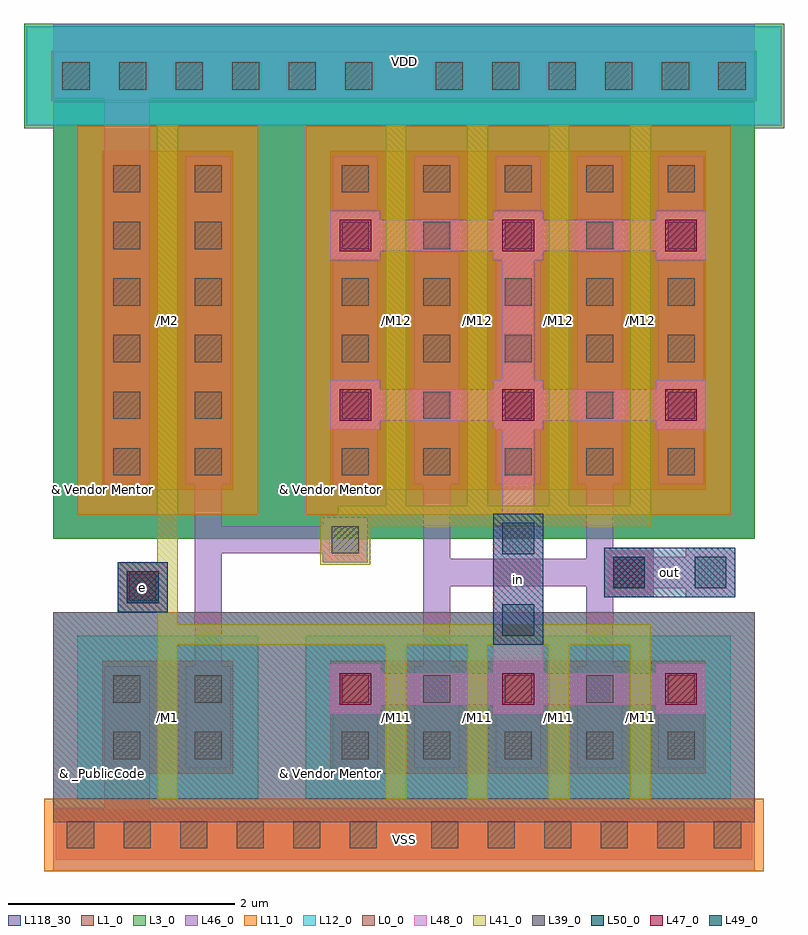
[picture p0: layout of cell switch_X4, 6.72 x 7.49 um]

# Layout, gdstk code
import gdstk
lib = gdstk.Library(unit=1e-6, precision=1e-09)
def R(c, l, rs):  # rectangles x0, y0, x1, y1
    for r in rs: c.add(gdstk.rectangle(r[:2], r[2:], *l))
def A(c, l, x, y, w, h, nx, ny, dx, dy):  # array of equal rectangles
    R(c, l, [(x+i*dx, y+j*dy, x+i*dx+w, y+j*dy+h) for i in range(nx) for j in range(ny)])
def P(c, l, *ps):  # polygons
    for p in ps: c.add(gdstk.Polygon(p, *l))
L0_0 = (0, 0)
L1_0 = (1, 0)
L3_0 = (3, 0)
L11_0 = (11, 0)
L12_0 = (12, 0)
L39_0 = (39, 0)
L41_0 = (41, 0)
L46_0 = (46, 0)
L47_0 = (47, 0)
L48_0 = (48, 0)
L49_0 = (49, 0)
L50_0 = (50, 0)
L118_30 = (118, 30)

m1m2 = lib.new_cell('M1M2')
R(m1m2, L46_0, [(-0.22,-0.22,0.22,0.22)])
R(m1m2, L47_0, [(-0.14,-0.14,0.14,0.14)])
R(m1m2, L48_0, [(-0.22,-0.22,0.22,0.22)])

mpoly = lib.new_cell('MPOLY')
R(mpoly, L39_0, [(-0.12,-0.12,0.12,0.12)])
R(mpoly, L41_0, [(-0.22,-0.22,0.22,0.22)])
R(mpoly, L46_0, [(-0.2,-0.2,0.2,0.2)])

m2m3 = lib.new_cell('M2M3')
R(m2m3, L48_0, [(-0.22,-0.22,0.22,0.22)])
R(m2m3, L49_0, [(-0.14,-0.14,0.14,0.14)])
R(m2m3, L50_0, [(-0.22,-0.22,0.22,0.22)])

switch_x4 = lib.new_cell('switch_X4')
R(switch_x4, L0_0, [(-0.46,-1.87,1.56,-0.01), (1.56,-1.87,5.74,-0.01)])
R(switch_x4, L1_0, [(-0.44,-2.2,5.72,-1.76), (-0.03,-1.44,1.13,-0.44), (-0.03,-1.44,0.46,-0.44), (0.64,-1.44,1.13,-0.44), (1.99,-1.44,2.48,-0.44), (1.99,-1.44,5.31,-0.44), (4.82,-1.44,5.31,-0.44), (-0.03,1.07,0.46,4.07), (-0.03,1.07,1.13,4.07), (0.64,1.07,1.13,4.07), (1.99,1.07,5.31,4.07), (1.99,1.07,2.48,4.07), (4.82,1.07,5.31,4.07), (-0.48,4.51,5.76,4.95)])
R(switch_x4, L3_0, [(-0.46,0.64,1.56,4.5), (1.56,0.64,5.74,4.5), (-0.72,4.27,6,5.19)])
R(switch_x4, L11_0, [(-0.54,-2.3,5.82,-1.66), (-0.25,0.85,1.35,4.29), (1.77,0.85,5.53,4.29)])
R(switch_x4, L12_0, [(-0.25,-1.66,1.35,-0.22), (1.77,-1.66,5.53,-0.22), (-0.7,4.29,5.98,5.17)])
A(switch_x4, L39_0, -0.34, -2.1, 0.24, 0.24, 6, 1, 0.5, 0)
A(switch_x4, L39_0, 2.88, -2.1, 0.24, 0.24, 6, 1, 0.5, 0)
A(switch_x4, L39_0, 2.09, -1.31, 0.24, 0.24, 5, 2, 0.72, 0.5)
A(switch_x4, L39_0, 0.07, 1.2, 0.24, 0.24, 1, 6, 0, 0.5)
A(switch_x4, L39_0, 0.79, 1.2, 0.24, 0.24, 1, 6, 0, 0.5)
A(switch_x4, L39_0, 2.09, 1.2, 0.24, 0.24, 5, 6, 0.72, 0.5)
A(switch_x4, L39_0, -0.38, 4.61, 0.24, 0.24, 6, 1, 0.5, 0)
A(switch_x4, L39_0, 2.92, 4.61, 0.24, 0.24, 6, 1, 0.5, 0)
R(switch_x4, L39_0, [(0.07,-1.31,0.31,-1.07), (0.79,-1.31,1.03,-1.07), (0.07,-0.81,0.31,-0.57), (0.79,-0.81,1.03,-0.57)])
A(switch_x4, L41_0, 2.48, -1.66, 0.18, 0.22, 4, 2, 0.72, 1.22)
A(switch_x4, L41_0, 2.48, -1.44, 0.18, 1, 4, 1, 0.72, 0)
A(switch_x4, L41_0, 2.48, 0.85, 0.18, 0.22, 4, 2, 0.72, 3.22)
A(switch_x4, L41_0, 2.48, 1.07, 0.18, 3, 4, 1, 0.72, 0)
R(switch_x4, L41_0, [(0.46,-1.66,0.64,-1.44), (0.46,-1.44,0.64,-0.44), (0.46,-0.44,0.64,-0.22), (0.46,-0.4,0.64,-0.12), (0.46,-0.3,2.66,-0.12), (0.46,-0.3,0.64,1.03), (0.46,0.85,0.64,1.07), (0.46,1.07,0.64,4.07), (0.46,4.07,0.64,4.29)])
P(switch_x4, L41_0, [(3.92,-0.3),(4.64,-0.3),(4.64,-0.4),(4.82,-0.4),(4.82,-0.12),(3.92,-0.12)],
  [(2.48,0.75),(3.38,0.75),(3.38,1.03),(3.2,1.03),(3.2,0.93),(2.66,0.93),(2.66,1.03),(2.48,1.03)],
  [(3.2,0.75),(4.1,0.75),(4.1,1.03),(3.92,1.03),(3.92,0.93),(3.2,0.93)],
  [(3.92,0.75),(4.82,0.75),(4.82,1.03),(4.64,1.03),(4.64,0.93),(3.92,0.93)],
  [(2.48,-0.4),(2.66,-0.4),(2.66,-0.3),(3.2,-0.3),(3.2,-0.4),(3.38,-0.4),(3.38,-0.12),(2.48,-0.12)],
  [(3.2,-0.3),(3.92,-0.3),(3.92,-0.4),(4.1,-0.4),(4.1,-0.12),(3.2,-0.12)],
  [(2.03,0.54),(2.24,0.54),(2.24,0.75),(2.66,0.75),(2.66,0.93),(2.06,0.93),(2.06,0.72),(2.03,0.72)])
A(switch_x4, L46_0, 2.01, -1.39, 0.4, 0.9, 5, 1, 0.72, 0)
A(switch_x4, L46_0, 2.01, 1.12, 0.4, 2.9, 5, 1, 0.72, 0)
R(switch_x4, L46_0, [(-0.46,-2.3,5.74,-1.74), (-0.46,-2.22,5.74,-1.74), (-0.01,-2.14,0.39,-0.99), (-0.01,-1.39,0.39,-0.49), (0.71,-1.39,1.11,-0.49), (0.79,-0.73,1.03,0.75), (2.81,-0.73,3.05,0.46), (4.25,-0.73,4.49,0.46), (2.81,0.22,3.05,1.36), (2.81,0.22,4.49,0.46), (4.25,0.22,4.75,0.46), (4.25,0.22,4.49,1.36), (0.79,0.51,2.24,0.75), (0.79,0.51,1.03,1.36), (-0.01,1.12,0.39,4.02), (0.71,1.12,1.11,4.02), (-0.01,3.62,0.39,4.93), (-0.46,4.53,5.74,4.93), (-0.46,4.53,5.74,5.19)])
R(switch_x4, L48_0, [(2.07,-0.83,3.79,-0.55), (3.51,-0.83,5.23,-0.55), (3.51,-0.83,3.79,1.96), (3.43,-0.47,3.51,-0.3), (3.79,-0.47,3.87,-0.3), (3.43,0.14,3.87,0.42), (4.49,0.2,5.49,0.48), (2.07,1.68,3.79,1.96), (3.51,1.68,5.23,1.96), (3.51,1.68,3.79,3.46), (2.07,3.18,3.79,3.46), (3.51,3.18,5.23,3.46)])
R(switch_x4, L50_0, [(3.43,-0.3,3.87,0.86), (0.11,-0.01,0.55,0.43), (4.41,0.12,5.57,0.56)])
R(switch_x4, L118_30, [(-0.46,-1.87,1.56,-0.01), (1.56,-1.87,5.74,-0.01), (-0.46,0.64,1.56,4.5), (1.56,0.64,5.74,4.5)])
switch_x4.add(gdstk.Reference(m1m2, (3.65,1.82)))
switch_x4.add(gdstk.Reference(m1m2, (2.21,1.82)))
switch_x4.add(gdstk.Reference(m1m2, (5.09,1.82)))
switch_x4.add(gdstk.Reference(m1m2, (3.65,3.32)))
switch_x4.add(gdstk.Reference(mpoly, (2.12,0.63)))
switch_x4.add(gdstk.Reference(m1m2, (2.21,-0.69)))
switch_x4.add(gdstk.Reference(m1m2, (3.65,-0.69)))
switch_x4.add(gdstk.Reference(m1m2, (5.09,-0.69)))
switch_x4.add(gdstk.Reference(m1m2, (2.21,3.32)))
switch_x4.add(gdstk.Reference(m1m2, (5.09,3.32)))
switch_x4.add(gdstk.Reference(mpoly, (0.33,0.21)))
switch_x4.add(gdstk.Reference(m2m3, (0.33,0.21)))
switch_x4.add(gdstk.Reference(m1m2, (0.33,0.21)))
switch_x4.add(gdstk.Reference(m2m3, (3.65,0.64)))
switch_x4.add(gdstk.Reference(m2m3, (3.65,-0.08)))
switch_x4.add(gdstk.Reference(m1m2, (4.63,0.34)))
switch_x4.add(gdstk.Reference(m2m3, (4.63,0.34)))
switch_x4.add(gdstk.Reference(m2m3, (5.35,0.34)))
switch_x4.add(gdstk.Label('/M12', (2.57,2.57), layer=85, texttype=0))
switch_x4.add(gdstk.Label('/M12', (3.29,2.57), layer=85, texttype=0))
switch_x4.add(gdstk.Label('/M12', (4.01,2.57), layer=85, texttype=0))
switch_x4.add(gdstk.Label('/M12', (4.73,2.57), layer=85, texttype=0))
switch_x4.add(gdstk.Label('& Vendor Mentor', (1.99,1.07), layer=63, texttype=63))
switch_x4.add(gdstk.Label('& Product UMC180FDKMFM', (1.99,1.07), layer=63, texttype=63))
switch_x4.add(gdstk.Label('& Version A01', (1.99,1.07), layer=63, texttype=63))
switch_x4.add(gdstk.Label('& Metric 0', (1.99,1.07), layer=63, texttype=63))
switch_x4.add(gdstk.Label('& _PublicCode', (1.99,1.07), layer=63, texttype=63))
switch_x4.add(gdstk.Label('/M2', (0.55,2.57), layer=85, texttype=0))
switch_x4.add(gdstk.Label('& Vendor Mentor', (-0.03,1.07), layer=63, texttype=63))
switch_x4.add(gdstk.Label('& Product UMC180FDKMFM', (-0.03,1.07), layer=63, texttype=63))
switch_x4.add(gdstk.Label('& Version A01', (-0.03,1.07), layer=63, texttype=63))
switch_x4.add(gdstk.Label('& Metric 0', (-0.03,1.07), layer=63, texttype=63))
switch_x4.add(gdstk.Label('& _PublicCode', (-0.03,1.07), layer=63, texttype=63))
switch_x4.add(gdstk.Label('& _PublicCode', (-0.03,-1.44), layer=63, texttype=63))
switch_x4.add(gdstk.Label('/M1', (0.55,-0.94), layer=85, texttype=0))
switch_x4.add(gdstk.Label('& Vendor Mentor', (-0.03,-1.44), layer=63, texttype=63))
switch_x4.add(gdstk.Label('& Product UMC180FDKMFM', (-0.03,-1.44), layer=63, texttype=63))
switch_x4.add(gdstk.Label('& Version A01', (-0.03,-1.44), layer=63, texttype=63))
switch_x4.add(gdstk.Label('& Metric 0', (-0.03,-1.44), layer=63, texttype=63))
switch_x4.add(gdstk.Label('/M11', (2.57,-0.94), layer=85, texttype=0))
switch_x4.add(gdstk.Label('/M11', (3.29,-0.94), layer=85, texttype=0))
switch_x4.add(gdstk.Label('/M11', (4.01,-0.94), layer=85, texttype=0))
switch_x4.add(gdstk.Label('/M11', (4.73,-0.94), layer=85, texttype=0))
switch_x4.add(gdstk.Label('& Vendor Mentor', (1.99,-1.44), layer=63, texttype=63))
switch_x4.add(gdstk.Label('& Product UMC180FDKMFM', (1.99,-1.44), layer=63, texttype=63))
switch_x4.add(gdstk.Label('& Version A01', (1.99,-1.44), layer=63, texttype=63))
switch_x4.add(gdstk.Label('& Metric 0', (1.99,-1.44), layer=63, texttype=63))
switch_x4.add(gdstk.Label('& _PublicCode', (1.99,-1.44), layer=63, texttype=63))
switch_x4.add(gdstk.Label('VSS', (2.64,-2.02), layer=101, texttype=0))
switch_x4.add(gdstk.Label('VDD', (2.64,4.86), layer=101, texttype=0))
switch_x4.add(gdstk.Label('e', (0.33,0.21), layer=103, texttype=0))
switch_x4.add(gdstk.Label('out', (4.99,0.34), layer=103, texttype=0))
switch_x4.add(gdstk.Label('in', (3.65,0.28), layer=103, texttype=0))

lib.write_gds('switch_X4.gds')
